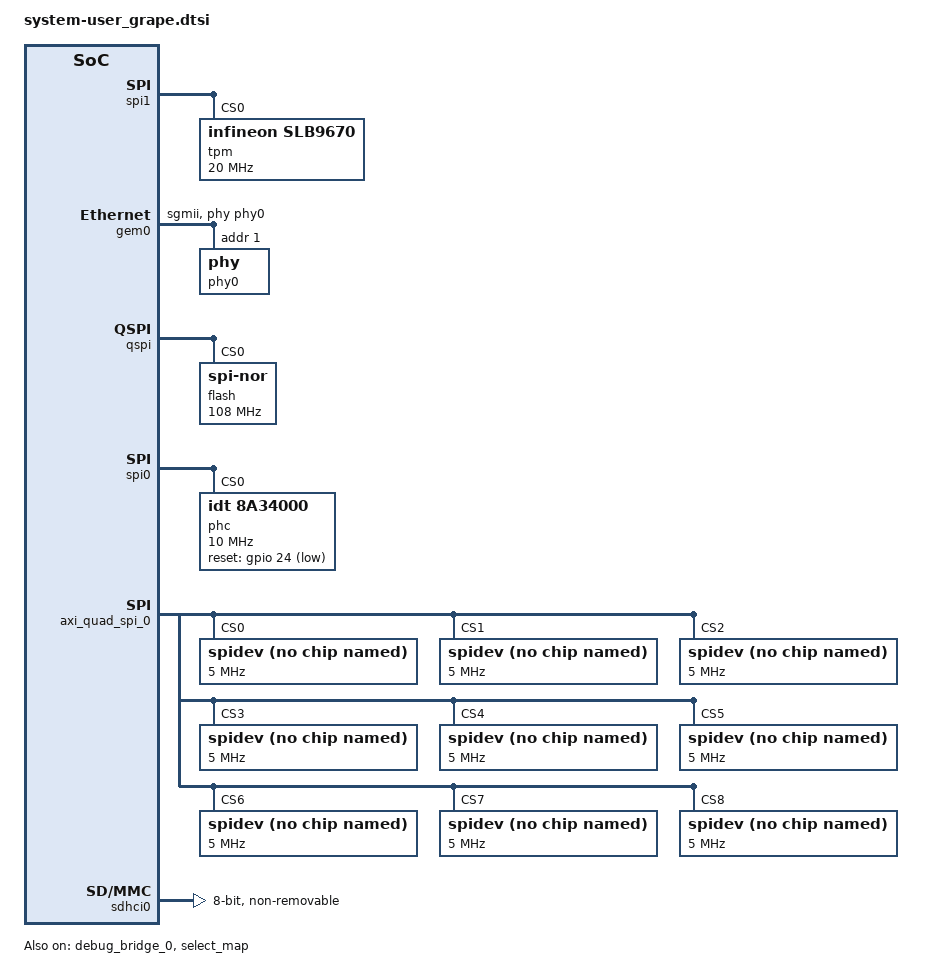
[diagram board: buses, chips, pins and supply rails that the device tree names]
/include/ "system-conf.dtsi"
#include <dt-bindings/interrupt-controller/irq.h>
#include <dt-bindings/gpio/gpio.h>
/ {
    gpio_keys:alarm_keys@0 {
        compatible = "gpio-keys";
        label = "Sakura Interrupt collection";
    };

    select_map: select-map {
        compatible = "selectmap,ku5p";
        status = "okay";
        reg = <0x0 0xff0a0048 0x0 0x20>;
        first_check_cfg_done = <0>;
        ku_rdwr = <&gpio 65 GPIO_ACTIVE_HIGH>;
        ku_cclk = <&gpio 53 GPIO_ACTIVE_HIGH>;
        ku_prog_b = <&gpio 56 GPIO_ACTIVE_HIGH>;
        ku_cfg_done = <&gpio 52 GPIO_ACTIVE_HIGH>;
        ku_init_b = <&gpio 68 GPIO_ACTIVE_HIGH>;
        ku_csi_b = <&gpio 60 GPIO_ACTIVE_HIGH>;
        // ku_cfg_led = <&gpio 51 GPIO_ACTIVE_HIGH>;
        ku_bank_base = <&gpio 52 GPIO_ACTIVE_HIGH>;
        /* D0 - D7*/
        gpios = <&gpio 64 GPIO_ACTIVE_HIGH
            &gpio 57 GPIO_ACTIVE_HIGH
            &gpio 66 GPIO_ACTIVE_HIGH
            &gpio 69 GPIO_ACTIVE_HIGH
            &gpio 54 GPIO_ACTIVE_HIGH
            &gpio 62 GPIO_ACTIVE_HIGH
            &gpio 61 GPIO_ACTIVE_HIGH
            &gpio 63 GPIO_ACTIVE_HIGH>;
    };

};

&debug_bridge_0 {
	compatible = "xlnx,xvc";
	status = "okay";
};

&spi1 {
    status = "okay";
    num-cs = <1>;
    tpm@0 {
        compatible = "infineon,slb9670";
        #address-cells = <1>;
        #size-cells = <0>;
        spi-max-frequency = <20000000>;
        reg = <0>;
        status = "okay";
    };
};

&gem0 {
    status = "okay";
    phy-handle = <&phy0>;
    phy-mode = "sgmii";
    is-internal-pcspma = <0x1>;
    phy0: phy@1 {
        reg = <0x1>;
    };
};

&gem1 {
    status = "disabled";
};

&qspi {
    status = "okay";
    is-dual = <0>;
    num-cs = <1>;
    flash@0 {
        compatible ="jedec,spi-nor";
        reg = <0x0>;
        spi-tx-bus-width = <1>;
        spi-rx-bus-width = <4>;
        spi-max-frequency = <108000000>;
        #address-cells = <1>;
        #size-cells = <1>;
    };
};

&flash0 {
    partition@21 {
        label = "reserved3";
        reg = <0x01000000 0x01000000>;
    };
};

&spi0 {
    status = "okay";
    num-cs = <1>;
    u-boot,dm-pre-reloc;
    phc@0 {
        compatible="idt,8a34000";
        reg = <0>;
        spi-max-frequency = <10000000>;
        reset-gpio = <&gpio 24 1>;//GPIO_ACTIVE_LOW
    };
};

&axi_quad_spi_0 {
    status = "okay";
    spidev@0 {
        compatible="rohm,dh2228fv";
        reg = <0>;
        spi-max-frequency = <5000000>;
    };

    spidev@1 {
        compatible="rohm,dh2228fv";
        reg = <1>;
        spi-max-frequency = <5000000>;
    };

    spidev@2 {
        compatible="rohm,dh2228fv";
        reg = <2>;
        spi-max-frequency = <5000000>;
    };

    spidev@3 {
        compatible="rohm,dh2228fv";
        reg = <3>;
        spi-max-frequency = <5000000>;
    };

    spidev@4 {
        compatible="rohm,dh2228fv";
        reg = <4>;
        spi-max-frequency = <5000000>;
    };

    spidev@5 {
        compatible="rohm,dh2228fv";
        reg = <5>;
        spi-max-frequency = <5000000>;
    };

    spidev@6 {
        compatible="rohm,dh2228fv";
        reg = <6>;
        spi-max-frequency = <5000000>;
    };

    spidev@7 {
        compatible="rohm,dh2228fv";
        reg = <7>;
        spi-max-frequency = <5000000>;
    };

    spidev@8 {
        compatible="rohm,dh2228fv";
        reg = <8>;
        spi-max-frequency = <5000000>;
    };
/*
    spidev@9 {
        compatible="rohm,dh2228fv";
        reg = <9>;
        spi-max-frequency = <5000000>;
    };
	
    spidev@10 {
        compatible="rohm,dh2228fv";
        reg = <10>;
        spi-max-frequency = <5000000>;
    };

    spidev@11 {
        compatible="rohm,dh2228fv";
        reg = <11>;
        spi-max-frequency = <5000000>;
    };

    spidev@12 {
        compatible="rohm,dh2228fv";
        reg = <12>;
        spi-max-frequency = <5000000>;
    };

    spidev@13 {
        compatible="rohm,dh2228fv";
        reg = <13>;
        spi-max-frequency = <5000000>;
    };
*/
};

&sdhci0 {
        status = "okay";
        bus-width = <8>;
        non-removable;
        cap-mmc-highspeed;
        cap-sd-highspeed;
        disable-wp;
        no-1-8-v;
};

&amba_pl {
    fpga: fpga@a0000000 {
        compatible = "generic-uio";
        reg = <0x0 0xA0000000 0x0 0x20000000>;
    };

    dpd_0_USER: dpd_user@a4000000 {
        compatible = "generic-uio";
        reg = <0x0 0xa4000000 0x0 0x20000>;
    };
};

&dpd_0{
    compatible = "generic-uio";
    reg = <0x0 0xa8000000 0x0 0x4000000>;
};

&gpio_keys {
	status = "disabled";

    pl_irq1{
        label = "PAP";
        linux,code = <2>;
        interrupt-parent = <&axi_intc_0>;
        interrupts = <1 0>;
        debounce-interval = <0>;
    };

    pl_irq4{
        label = "AFE";
        linux,code = <5>;
        interrupt-parent = <&axi_intc_0>;
        interrupts = <4 0>;
        debounce-interval = <0>;
    };

    pl_irq5{
        label = "RTS";
        linux,code = <6>;
        interrupt-parent = <&axi_intc_0>;
        interrupts = <5 0>;
        debounce-interval = <0>;
    };

    pl_irq6{
        label = "ORAN_IF";
        linux,code = <7>;
        interrupt-parent = <&axi_intc_0>;
        interrupts = <6 1>;
        debounce-interval = <0>;
    };

    pl_irq7{
        label = "AFE_OV";
        linux,code = <8>;
        interrupt-parent = <&axi_intc_0>;
        interrupts = <7 0>;
        debounce-interval = <0>;
    };

    pl_irq10{
        label = "RADIO_CTRL_ZU67";
        linux,code = <11>;
        interrupt-parent = <&axi_intc_0>;
        interrupts = <10 0>;
        debounce-interval = <0>;
    };

    pl_irq19{
        label = "PRACH_IP_EVENT";
        linux,code = <20>;
        interrupt-parent = <&axi_intc_0>;
        interrupts = <19 0>;
        debounce-interval = <0>;
    };

    pl_irq20{
        label = "PRACH_CFG_UPDATE";
        linux,code = <21>;
        interrupt-parent = <&axi_intc_0>;
        interrupts = <20 0>;
        debounce-interval = <0>;
    };

    pl_irq21{
        label = "PRACH";
        linux,code = <22>;
        interrupt-parent = <&axi_intc_0>;
        interrupts = <21 0>;
        debounce-interval = <0>;
    };

    pl_irq22{
        label = "PRACH_OVERFLOW";
        linux,code = <23>;
        interrupt-parent = <&axi_intc_0>;
        interrupts = <22 0>;
        debounce-interval = <0>;
    };

    pl_irq25{
        label = "UART";
        linux,code = <26>;
        interrupt-parent = <&axi_intc_0>;
        interrupts = <25 0>;
        debounce-interval = <0>;
    };

};

&axi_intc_ku5p {
	compatible = "xlnx,intc-interlink";
	/* will be enabled in overlay */
	status = "disabled";
};

&support_1588_2step_timer1588_subs_timer_1588_v2_0_0 {
   compatible = "xlnx,timer-1588-2.0";
   xlnx,period = <4000000>;
   pps_in_fifo = <&axi_fifo_mm_s_0>;
};

&support_1588_2step1_timer1588_subs_timer_1588_v2_0_0 {
   compatible = "xlnx,timer-1588-2.0";
   xlnx,period = <4000000>;
   status = "disabled";
};

&xxv_ethernet_0 {
       status = "disabled";
       axistream-connected = <&axi_mcdma_0>;
       axistream-control-connected = <&axi_mcdma_0>;
       axififo-connected = <&support_1588_2step_tx_ts_fifo_axi_fifo_mm_s_0>;
       xlnx,rxtsfifo = <&support_1588_2step_rx_ts_fifo_axi_fifo_mm_s_0>;
       xlnx,num-queues = /bits/ 16 <0x1>;
       xlnx,channel-ids = "1";
       xlnx,include-dre;
       xlnx,rxmem = <0x3000>;
       interrupt-names = "mm2s_ch1_introut", "s2mm_ch1_introut";
       interrupt-parent = <&gic>;
       interrupts = <0 92 4 0 94 4>;
       local-mac-address = [00 0A 35 00 1A AE];
};

&xxv_ethernet_1 {
       status = "disabled";
       axistream-connected = <&axi_mcdma_0>;
       axistream-control-connected = <&axi_mcdma_0>;
       axififo-connected = <&support_1588_2step1_tx_ts_fifo_axi_fifo_mm_s_0>;
       xlnx,rxtsfifo = <&support_1588_2step1_rx_ts_fifo_axi_fifo_mm_s_0>;
       xlnx,num-queues = /bits/ 16 <0x1>;
       xlnx,channel-ids = "2";
       xlnx,include-dre;
       xlnx,rxmem = <0x3000>;
       interrupt-names = "mm2s_ch2_introut", "s2mm_ch2_introut";
       interrupt-parent = <&gic>;
       interrupts = <0 93 4 0 95 4>;
       local-mac-address = [00 0A 35 00 1A AF];
};

&axi_mcdma_0 {
       status = "disabled";
       compatible = "xlnx,eth-dma";
       xlnx,include-dre;
};

